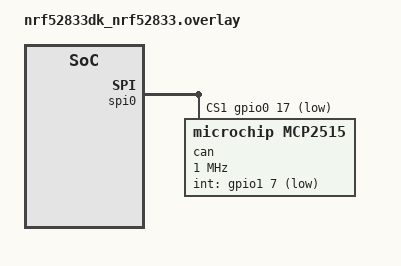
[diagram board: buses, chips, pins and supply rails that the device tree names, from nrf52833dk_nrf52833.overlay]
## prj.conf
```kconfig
# enable SoC DC/DC for better power consumption (default y)
CONFIG_BOARD_ENABLE_DCDC=y

CONFIG_GPIO=y

CONFIG_SPI=y

CONFIG_CAN=y

# ensure CAN initializes after SPI
CONFIG_CAN_INIT_PRIORITY=80

CONFIG_BT=y
CONFIG_BT_CENTRAL=y
#CONFIG_BT_PERIPHERAL=y
CONFIG_BT_GATT_CLIENT=y

CONFIG_BT_DEVICE_NAME="TTPMS Receiver"

CONFIG_BT_FILTER_ACCEPT_LIST=y

CONFIG_BT_MAX_CONN=8
#CONFIG_BT_MAX_CONN=9

CONFIG_BT_BUF_ACL_TX_SIZE=251
CONFIG_BT_BUF_ACL_RX_SIZE=251
CONFIG_BT_L2CAP_TX_MTU=247
CONFIG_BT_CTLR_DATA_LENGTH_MAX=251
CONFIG_BT_GATT_AUTO_UPDATE_MTU=y

# set TX power to max (+8dB)
CONFIG_BT_CTLR_TX_PWR_PLUS_8=y

#CONFIG_BT_RX_STACK_SIZE=2048

#CONFIG_MAIN_STACK_SIZE=2048


# -- DEBUGGING --

CONFIG_CONSOLE=y
CONFIG_USE_SEGGER_RTT=y
CONFIG_RTT_CONSOLE=y

CONFIG_LOG=y
CONFIG_LOG_SPEED=y
#CONFIG_LOG_PROCESS_THREAD_STACK_SIZE=2048

#CONFIG_LOG_BACKEND_FS=y
##CONFIG_LOG_BACKEND_FS_AUTOSTART=y
#CONFIG_LOG_BACKEND_FS_DIR="/SD:"

#CONFIG_DEBUG_OPTIMIZATIONS=y
#CONFIG_DEBUG_THREAD_INFO=y

#CONFIG_THREAD_ANALYZER=y
#CONFIG_THREAD_ANALYZER_AUTO=y
#CONFIG_THREAD_ANALYZER_AUTO_INTERVAL=10
#CONFIG_THREAD_ANALYZER_USE_LOG=y
```

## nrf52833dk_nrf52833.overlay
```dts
// To get started, press Ctrl+Space to bring up the completion menu and view the available nodes.

// You can also use the buttons in the sidebar to perform actions on nodes.
// Actions currently available include:

// * Enabling / disabling the node
// * Adding the bus to a bus
// * Removing the node
// * Connecting ADC channels

// For more help, browse the DeviceTree documentation at https://docs.zephyrproject.org/latest/guides/dts/index.html
// You can also visit the nRF DeviceTree extension documentation at https://nrfconnect.github.io/vscode-nrf-connect/devicetree/nrfdevicetree.html


/* disabling all unused peripherals */

// disable ADC?

/*
&uart0 {
    status = "disabled";
};

&uart1 {
    status = "disabled";
};*/

&i2c0 {
    status = "disabled";
};

&pwm0 {
    status = "disabled";
};

&spi1 {
    status = "disabled";
};

&spi3 {
    status = "disabled";
};

&ieee802154 {
    status = "disabled";
};


/* configuring peripherals we will use  */

&spi0 {
	status = "okay";

	cs-gpios = <&gpio0 11 GPIO_ACTIVE_LOW>,		// SD card CS on P0.11
			   <&gpio0 17 GPIO_ACTIVE_LOW>;		// MCP2515 CS on P0.17

	can: can@1 {
		compatible = "microchip,mcp2515";
		status = "okay";
		spi-max-frequency = <1000000>;
		int-gpios = <&gpio1 7 GPIO_ACTIVE_LOW>;	// interupt on P1.07	ttpms_rx_2_0 uses P0.15 but this is an LED on the DK
		reg = <1>;			// use second CS pin (see cs-gpios above)
		osc-freq = <10000000>;	// 10MHz for click board
		bus-speed = <1000000>;	// 1Mbps
		sjw = <1>;
		sample-point = <750>;	// 75% sample point

		can-transceiver {		// idk why this is getting the red squiggly, it should not
			max-bitrate = <1000000>;
		};
	};
};

&pinctrl {

	spi0_default: spi0_default {
		group1 {
			psels = <NRF_PSEL(SPIM_SCK, 1, 9)>,		// SCLK on P1.09
				    <NRF_PSEL(SPIM_MOSI, 1, 8)>,	// MOSI on P1.08
				    <NRF_PSEL(SPIM_MISO, 0, 4)>;	// MISO on P0.04
		};
	};

	spi0_sleep: spi0_sleep {
		group1 {
			psels = <NRF_PSEL(SPIM_SCK, 1, 9)>,
				    <NRF_PSEL(SPIM_MOSI, 1, 8)>,
				    <NRF_PSEL(SPIM_MISO, 0, 4)>;
			low-power-enable;
		};
	};

};

/ {
	chosen {
		zephyr,canbus = &can;
	};

	buttons {
		button0: button_0 {
			status = "disabled";	// we are using this pin for SD card CS
		};
	};
};
```

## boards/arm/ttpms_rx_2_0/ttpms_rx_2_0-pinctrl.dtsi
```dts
&pinctrl {

	spi0_default: spi0_default {
		group1 {
			psels = <NRF_PSEL(SPIM_SCK, 1, 9)>,
				    <NRF_PSEL(SPIM_MOSI, 1, 8)>,
				    <NRF_PSEL(SPIM_MISO, 0, 4)>;
		};
	};

	spi0_sleep: spi0_sleep {
		group1 {
			psels = <NRF_PSEL(SPIM_SCK, 1, 9)>,
				    <NRF_PSEL(SPIM_MOSI, 1, 8)>,
				    <NRF_PSEL(SPIM_MISO, 0, 4)>;
			low-power-enable;
		};
	};

};
```

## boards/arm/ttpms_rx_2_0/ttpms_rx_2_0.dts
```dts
// Copyright (c) 2023 Nordic Semiconductor ASA
// SPDX-License-Identifier: Apache-2.0

/dts-v1/;
#include <nordic/nrf52833_qiaa.dtsi>
#include "ttpms_rx_2_0-pinctrl.dtsi"

/ {
	model = "TTPMS Receiver V2";
	compatible = "schulich-racing,ttpms-rx-2-0";

	chosen {
		zephyr,sram = &sram0;
		zephyr,flash = &flash0;
		zephyr,code-partition = &slot0_partition;
	};
};

&adc {
	status = "okay";
};

&gpiote {
	status = "okay";
};

&gpio0 {
	status = "okay";
};

&gpio1 {
	status = "okay";
};

&spi0 {
	compatible = "nordic,nrf-spi";
	status = "okay";
	pinctrl-0 = <&spi0_default>;
	pinctrl-1 = <&spi0_sleep>;
	pinctrl-names = "default", "sleep";
};

&flash0 {
	partitions {
		compatible = "fixed-partitions";
		#address-cells = <1>;
		#size-cells = <1>;

		boot_partition: partition@0 {
			label = "mcuboot";
			reg = <0x0 0xc000>;
		};
		slot0_partition: partition@c000 {
			label = "image-0";
			reg = <0xc000 0x32000>;
		};
		slot1_partition: partition@3e000 {
			label = "image-1";
			reg = <0x3e000 0x32000>;
		};
		scratch_partition: partition@70000 {
			label = "image-scratch";
			reg = <0x70000 0xa000>;
		};
		storage_partition: partition@7a000 {
			label = "storage";
			reg = <0x7a000 0x6000>;
		};
	};
};
```

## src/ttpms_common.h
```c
#ifndef _TTPMS_COMMON_
#define _TTPMS_COMMON_

// BLE addresses/identities
// First hex char must be C for random static address (to self-assign identity)

#define TTPMS_RX_BT_ID  "CA:69:F1:F1:69:69"		// Receiver BT ID
#define TTPMS_IFL_BT_ID "CA:69:F1:F1:33:42"		// Internal Front Left BT ID
#define TTPMS_IFR_BT_ID "CA:69:F1:F1:33:43"		// Internal Front Right BT ID
#define TTPMS_IRL_BT_ID "CA:69:F1:F1:33:44"		// Internal Rear Left BT ID
#define TTPMS_IRR_BT_ID "CA:69:F1:F1:33:45"		// Internal Rear Right BT ID
#define TTPMS_EFL_BT_ID "CA:69:F1:F1:11:22"		// External Front Left BT ID
#define TTPMS_EFR_BT_ID "CA:69:F1:F1:11:23"		// External Front Right BT ID
#define TTPMS_ERL_BT_ID "CA:69:F1:F1:11:24"		// External Rear Left BT ID
#define TTPMS_ERR_BT_ID "CA:69:F1:F1:11:25"		// External Rear Right BT ID


// GATT UUIDs and handles
// If proper GATT discovery is used, the UUIDs are used to find the handles of the desired characteristic/attribute.
// For simplicity, we will hardcode the handles.

#define TTPMS_BASE_UUID_PART_1	0x3022c87e
#define TTPMS_BASE_UUID_PART_2	0x71b0
#define TTPMS_BASE_UUID_PART_3	0x4d57
#define TTPMS_BASE_UUID_PART_4	0x881f
#define TTPMS_BASE_UUID_PART_5	0x54996ce814ad


// Base UUID, randomly generated, used for the overall GATT service
#define TTPMS_SERVICE_BASE_UUID BT_UUID_128_ENCODE(	TTPMS_BASE_UUID_PART_1, \
													TTPMS_BASE_UUID_PART_2, \
													TTPMS_BASE_UUID_PART_3, \
													TTPMS_BASE_UUID_PART_4, \
													TTPMS_BASE_UUID_PART_5		)

// Base UUID + 1, used for the battery life GATT characteristic
#define TTPMS_SERVICE_BATT_UUID BT_UUID_128_ENCODE(	TTPMS_BASE_UUID_PART_1, \
													TTPMS_BASE_UUID_PART_2, \
													TTPMS_BASE_UUID_PART_3, \
													TTPMS_BASE_UUID_PART_4, \
													TTPMS_BASE_UUID_PART_5 + 1	)

// Base UUID + 2, used for the temperature GATT characteristic
#define TTPMS_SERVICE_TEMP_UUID BT_UUID_128_ENCODE(	TTPMS_BASE_UUID_PART_1, \
													TTPMS_BASE_UUID_PART_2, \
													TTPMS_BASE_UUID_PART_3, \
													TTPMS_BASE_UUID_PART_4, \
													TTPMS_BASE_UUID_PART_5 + 2	)

// Base UUID + 3, used for the pressure GATT characteristic
#define TTPMS_SERVICE_PRES_UUID BT_UUID_128_ENCODE(	TTPMS_BASE_UUID_PART_1, \
													TTPMS_BASE_UUID_PART_2, \
													TTPMS_BASE_UUID_PART_3, \
													TTPMS_BASE_UUID_PART_4, \
													TTPMS_BASE_UUID_PART_5 + 3	)


// the below handles must be updated every time the GATT table declaration is changed in the sensor code

#define TTPMS_GATT_BATT_HANDLE 		0x0		// not yet implemented
#define TTPMS_GATT_TEMP_HANDLE 		0x12
#define TTPMS_GATT_PRESSURE_HANDLE	0x0		// not yet implemented

// the pressure characteristic/handle is last so that the other handles are not changed for sensors that do not have pressure

// for subscribable characteristics (temperature and pressure), the CCC handle is always
// right after the value handle (value handle + 1). We can hardcode the + 1.

#endif
```
